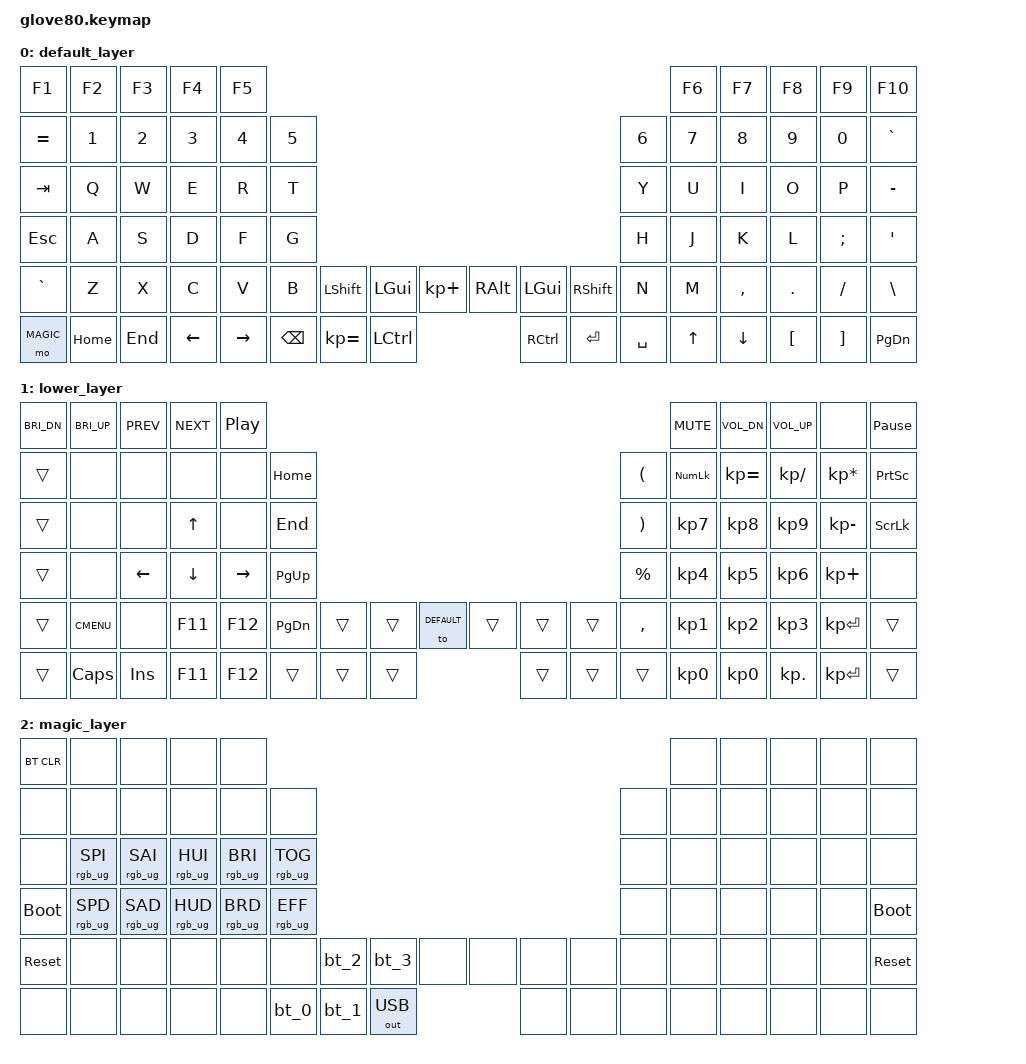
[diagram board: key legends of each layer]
/*
 * Copyright (c) 2020 The ZMK Contributors
 *
 * SPDX-License-Identifier: MIT
 */

#include <behaviors.dtsi>
#include <dt-bindings/zmk/keys.h>
#include <dt-bindings/zmk/bt.h>
#include <dt-bindings/zmk/ext_power.h>
#include <dt-bindings/zmk/outputs.h>
#include <dt-bindings/zmk/rgb.h>

// layers
#define DEFAULT 0
#define LOWER 1
#define MAGIC 2

/ {
    behaviors {
	      hml: home_row_mod_left {
            compatible = "zmk,behavior-hold-tap";
            #binding-cells = <2>;
            flavor = "balanced";
            require-prior-idle-ms = <100>;
            tapping-term-ms = <200>;
            quick-tap-ms = <150>;
            bindings = <&kp>, <&kp>;
            hold-trigger-key-positions = <0 1 2 3>;
            hold-trigger-on-release;
        };
        hmr: home_row_mod_right {
            compatible = "zmk,behavior-hold-tap";
            #binding-cells = <2>;
            flavor = "balanced";
            require-prior-idle-ms = <100>;
            tapping-term-ms = <200>;
            quick-tap-ms = <150>;
            bindings = <&kp>, <&kp>;
	          hold-trigger-key-positions = <15 16 17 18>;
            hold-trigger-on-release;
        };
    };

    macros {
        bt_0: bt_profile_macro_0 {
            compatible = "zmk,behavior-macro";
            #binding-cells = <0>;
            bindings
                = <&out OUT_BLE>,
                  <&bt BT_SEL 0>;
        };

        bt_1: bt_profile_macro_1 {
            compatible = "zmk,behavior-macro";
            #binding-cells = <0>;
            bindings
                = <&out OUT_BLE>,
                  <&bt BT_SEL 1>;
        };

        bt_2: bt_profile_macro_2 {
            compatible = "zmk,behavior-macro";
            #binding-cells = <0>;
            bindings
                = <&out OUT_BLE>,
                  <&bt BT_SEL 2>;
        };

        bt_3: bt_profile_macro_3 {
            compatible = "zmk,behavior-macro";
            #binding-cells = <0>;
            bindings
                = <&out OUT_BLE>,
                  <&bt BT_SEL 3>;
        };
    };

    keymap {
        compatible = "zmk,keymap";

        default_layer {
            // ---------------------------------------------------------------------------------------------------------------------------------
            // |  F1   |  F2 |  F3 |  F4  |  F5  |                                                               |  F6   |  F7   |  F8  |   F9  |  F10 |
            // |  =    |  1  |  2  |  3   |  4   |  5   |                                                 |  6   |   7   |   8   |  9   |   0   |   -  |
            // |  TAB  |  Q  |  W  |  E   |  R   |  T   |                                                 |  Y   |   U   |   I   |  O   |   P   |   \  |
            // |  ESC  |  A  |  S  |  D   |  F   |  G   |                                                 |  H   |   J   |   K   |  L   |   ;   |   '  |
            // |   `   |  Z  |  X  |  C   |  V   |  B   | LSHFT | LCTRL | LOWER | | LGUI  | RCTRL | RSHFT |  N   |   M   |   ,   |  .   |   /   | PGUP |
            // | MAGIC | HOME| END | LEFT | RIGHT|      | BSPC  | DEL   | LALT  | | RALT  | RET   | SPACE |      |  UP   | DOWN  |  [   |   ]   | PGDN |

            bindings = <
            &kp F1         &kp F2   &kp F3      &kp F4      &kp F5                                                                                         &kp F6  &kp F7      &kp F8      &kp F9      &kp F10
            &kp EQUAL      &kp N1   &kp N2      &kp N3      &kp N4      &kp N5                                                                     &kp N6  &kp N7  &kp N8      &kp N9      &kp N0      &kp GRAVE
            &kp TAB        &kp Q    &kp W       &kp E       &kp R       &kp T                                                                      &kp Y   &kp U   &kp I       &kp O       &kp P       &kp MINUS
            &kp ESC        &kp A    &kp S       &kp D       &kp F       &kp G                                                                      &kp H   &kp J   &kp K       &kp L       &kp SEMI    &kp SQT
            &kp GRAVE      &kp Z    &kp X       &kp C       &kp V       &kp B   &kp LSHFT   &kp LGUI   &kp KP_PLUS  &kp RALT  &kp LGUI &kp RSHFT   &kp N   &kp M   &kp COMMA   &kp DOT     &kp FSLH    &kp BSLH
            &mo MAGIC      &kp HOME &kp END     &kp LEFT    &kp RIGHT           &kp BSPC    &kp KP_EQUAL &kp LCTRL  &kp RCTRL  &kp RET   &kp SPACE           &kp UP  &kp DOWN    &kp LBKT    &kp RBKT    &kp PG_DN
            >;
        };

        lower_layer {
            bindings = <
            &kp C_BRI_DN      &kp C_BRI_UP        &kp C_PREV      &kp C_NEXT      &kp C_PP                                                                                                           &kp C_MUTE   &kp C_VOL_DN &kp C_VOL_UP  &none           &kp PAUSE_BREAK
            &trans            &none               &none           &none           &none           &kp HOME                                                                              &kp LPAR     &kp KP_NUM   &kp KP_EQUAL &kp KP_DIVIDE &kp KP_MULTIPLY &kp PSCRN
            &trans            &none               &none           &kp UP          &none           &kp END                                                                               &kp RPAR     &kp KP_N7    &kp KP_N8    &kp KP_N9     &kp KP_MINUS    &kp SLCK
            &trans            &none               &kp LEFT        &kp DOWN        &kp RIGHT       &kp PG_UP                                                                             &kp PRCNT    &kp KP_N4    &kp KP_N5    &kp KP_N6     &kp KP_PLUS     &none
            &trans            &kp K_CMENU         &none           &kp F11         &kp F12         &kp PG_DN       &trans      &trans      &to DEFAULT &trans      &trans      &trans    &kp COMMA    &kp KP_N1    &kp KP_N2    &kp KP_N3     &kp KP_ENTER    &trans
            &trans            &kp CAPS            &kp INS         &kp F11         &kp F12                         &trans      &trans      &trans      &trans      &trans      &trans                 &kp KP_N0    &kp KP_N0    &kp KP_DOT    &kp KP_ENTER    &trans
            >;
        };

        magic_layer {
            bindings = <
            &bt BT_CLR        &none               &none           &none           &none                                                                                                           &none      &none      &none      &none      &none
            &none             &none               &none           &none           &none           &none                                                                                &none      &none      &none      &none      &none      &none
            &none             &rgb_ug RGB_SPI     &rgb_ug RGB_SAI &rgb_ug RGB_HUI &rgb_ug RGB_BRI &rgb_ug RGB_TOG                                                                      &none      &none      &none      &none      &none      &none
            &bootloader       &rgb_ug RGB_SPD     &rgb_ug RGB_SAD &rgb_ug RGB_HUD &rgb_ug RGB_BRD &rgb_ug RGB_EFF                                                                      &none      &none      &none      &none      &none      &bootloader
            &sys_reset        &none               &none           &none           &none           &none           &bt_2     &bt_3     &none            &none     &none     &none       &none      &none      &none      &none      &none      &sys_reset
            &none             &none               &none           &none           &none                           &bt_0     &bt_1     &out OUT_USB     &none     &none     &none                  &none      &none      &none      &none      &none
            >;
        };
    };
};
